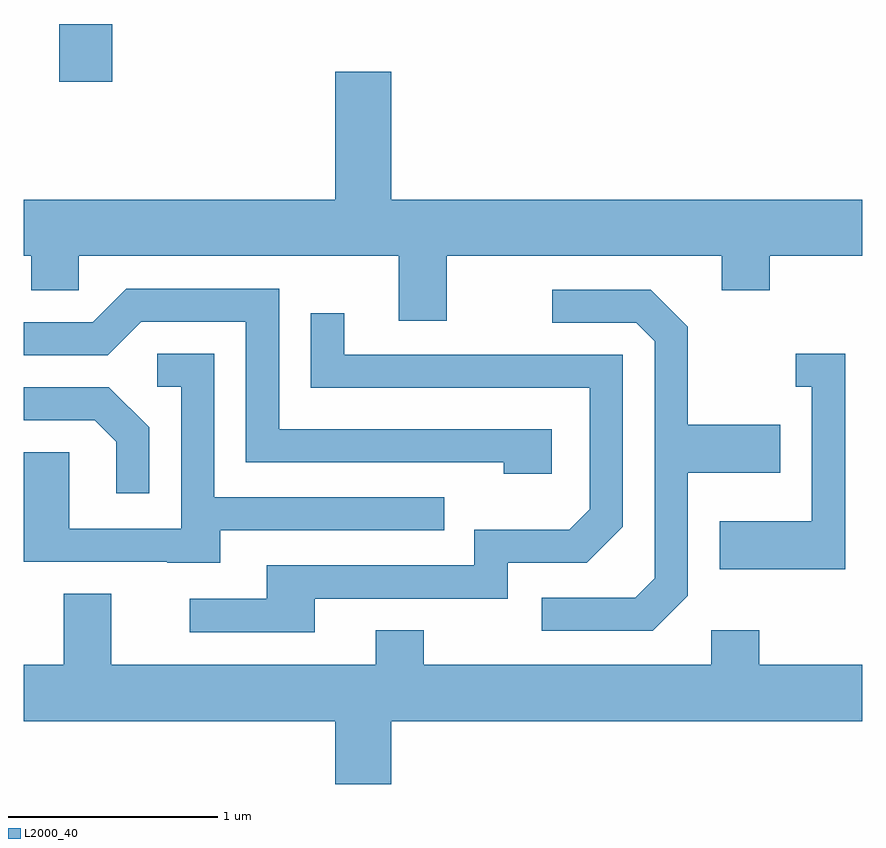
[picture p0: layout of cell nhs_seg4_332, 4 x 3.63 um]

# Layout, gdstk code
import gdstk
lib = gdstk.Library(unit=1e-6, precision=1e-09)
def R(c, l, rs):  # rectangles x0, y0, x1, y1
    for r in rs: c.add(gdstk.rectangle(r[:2], r[2:], *l))
def P(c, l, *ps):  # polygons
    for p in ps: c.add(gdstk.Polygon(p, *l))
L2000_40 = (2000, 40)

nhs_seg4_332 = lib.new_cell('nhs_seg4_332')
R(nhs_seg4_332, L2000_40, [(193.781,1377.706,194.034,1377.982)])
P(nhs_seg4_332, L2000_40, [(195.629,1376.876),(196.941,1376.876),(196.941,1376.711),(197.169,1376.711),(197.169,1376.876),(197.611,1376.876),(197.611,1377.144),(195.364,1377.144),(195.364,1377.754),(195.096,1377.754),(195.096,1377.144),(193.611,1377.144),(193.611,1376.876),(193.646,1376.876),(193.646,1376.711),(193.874,1376.711),(193.874,1376.876),(195.401,1376.876),(195.401,1376.566),(195.629,1376.566)],
  [(196.129,1376.049),(194.829,1376.049),(194.829,1376.719),(194.099,1376.719),(193.939,1376.559),(193.611,1376.559),(193.611,1376.401),(194.012,1376.401),(194.172,1376.561),(194.671,1376.561),(194.671,1375.891),(195.901,1375.891),(195.901,1375.836),(196.129,1375.836)],
  [(196.779,1375.254),(196.779,1375.841),(197.219,1375.841),(197.219,1376.069),(196.779,1376.069),(196.779,1376.537),(196.602,1376.714),(196.133,1376.714),(196.133,1376.556),(196.534,1376.556),(196.621,1376.469),(196.621,1375.337),(196.529,1375.244),(196.083,1375.244),(196.083,1375.086),(196.612,1375.086)],
  [(194.999,1375.241),(195.919,1375.241),(195.919,1375.411),(196.297,1375.411),(196.469,1375.584),(196.469,1376.404),(195.139,1376.404),(195.139,1376.603),(194.981,1376.603),(194.981,1376.246),(196.311,1376.246),(196.311,1375.667),(196.214,1375.569),(195.761,1375.569),(195.761,1375.399),(194.771,1375.399),(194.771,1375.239),(194.403,1375.239),(194.403,1375.081),(194.999,1375.081)],
  [(197.529,1376.409),(197.293,1376.409),(197.293,1376.251),(197.371,1376.251),(197.371,1375.609),(196.931,1375.609),(196.931,1375.381),(197.529,1375.381)],
  [(194.549,1375.566),(195.618,1375.566),(195.618,1375.724),(194.519,1375.724),(194.519,1376.409),(194.248,1376.409),(194.248,1376.251),(194.361,1376.251),(194.361,1375.574),(193.829,1375.574),(193.829,1375.939),(193.611,1375.939),(193.611,1375.416),(194.295,1375.416),(194.295,1375.411),(194.549,1375.411)],
  [(194.209,1376.057),(194.017,1376.249),(193.611,1376.249),(193.611,1376.091),(193.949,1376.091),(194.051,1375.989),(194.051,1375.743),(194.209,1375.743)],
  [(195.364,1374.656),(197.611,1374.656),(197.611,1374.924),(197.119,1374.924),(197.119,1375.089),(196.891,1375.089),(196.891,1374.924),(195.519,1374.924),(195.519,1375.089),(195.291,1375.089),(195.291,1374.924),(194.029,1374.924),(194.029,1375.264),(193.801,1375.264),(193.801,1374.924),(193.611,1374.924),(193.611,1374.656),(195.096,1374.656),(195.096,1374.356),(195.364,1374.356)])

lib.write_gds('nhs_seg4_332.gds')
